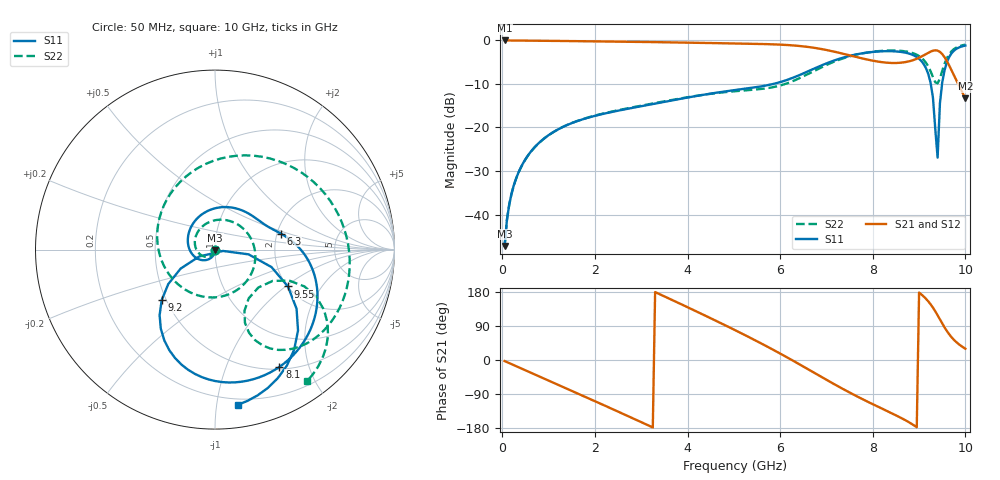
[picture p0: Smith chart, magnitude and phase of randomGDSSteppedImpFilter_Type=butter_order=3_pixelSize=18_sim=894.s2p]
! freq	dB(S11)	phase(S11)	dB(S12)	phase(S12)
!  dB(S21)	phase(S21)	dB(S22)	phase(S22)
!S-par simulation data
#  GHz  S  DB  R 50
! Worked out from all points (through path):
!   200 points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, 50 MHz to 10 GHz, reference 50 ohm
!   highest |S21| = -0.01 dB at 50 MHz (marker M1); lowest = -13.3 dB at 10 GHz (marker M2)
!   group delay of S21, straight-line fit = 177 ps
!   lowest |S11| = -47.2 dB at 50 MHz (marker M3), VSWR 1.01, Z = 50 - j0.434 ohm
!   |S11| at or under -10 dB: start of sweep to 5.849 GHz; 9.253 GHz to 9.496 GHz (243.5 MHz wide, 2.6 % of centre)
!   |S22| runs from -47.3 to -1.0 dB; largest |S21 - S12| = 0
!   S11 on the Smith chart (normalised r, x): 50 MHz: 1.00, -0.01; 6.3 GHz: 2.09, +0.44; 8.1 GHz: 0.53, -1.56; 9.2 GHz: 0.47, -0.32; 9.55 GHz: 2.01, -1.04; 10 GHz: 0.16, -1.15
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0.05  -47.25 -91.0  -0.01 -2.8  -0.01 -2.8  -47.26 -92.1
0.2  -35.18 -98.1  -0.02 -10.9  -0.02 -10.9  -35.21 -102.6
0.5  -27.29 -111.6  -0.04 -27.2  -0.04 -27.2  -27.32 -122.7
1.15  -20.75 -140.1  -0.11 -62.5  -0.11 -62.5  -20.76 -166.8
1.75  -18.07 -164.7  -0.18 -95.1  -0.18 -95.1  -18.03 152.0
2.65  -15.82 159.3  -0.29 -144.5  -0.29 -144.5  -15.71 89.2
3.4  -14.31 127.2  -0.40 173.6  -0.40 173.6  -14.18 37.8
4.3  -12.56 84.8  -0.56 121.9  -0.56 121.9  -12.55 -21.9
5.05  -11.37 51.0  -0.70 77.4  -0.70 77.4  -11.64 -76.2
5.75  -10.24 27.4  -0.86 33.5  -0.86 33.5  -10.92 -140.9
6.3  -8.47 13.7  -1.16 -3.3  -1.16 -3.3  -9.23 156.8
6.7  -6.63 1.6  -1.64 -31.2  -1.64 -31.2  -7.18 112.0
7.3  -4.14 -23.2  -2.91 -72.7  -2.91 -72.7  -4.34 54.5
8.1  -2.55 -61.3  -4.84 -122.5  -4.84 -122.5  -2.48 -4.0
8.35  -2.46 -73.6  -5.15 -137.1  -5.15 -137.1  -2.32 -19.2
8.85  -3.27 -102.6  -4.60 -169.3  -4.60 -169.3  -2.87 -48.6
9.2  -7.76 -136.5  -2.83 154.5  -2.83 154.5  -6.01 -67.8
9.3  -13.21 -151.1  -2.36 138.1  -2.36 138.1  -8.43 -64.4
9.4  -26.93 -9.5  -2.34 118.1  -2.34 118.1  -9.87 -41.1
9.45  -14.48 -8.0  -2.63 107.3  -2.63 107.3  -8.73 -28.5
9.55  -6.83 -26.8  -3.86 86.1  -3.86 86.1  -5.37 -22.4
10  -1.17 -81.5  -13.32 29.8  -13.32 29.8  -0.97 -54.9
